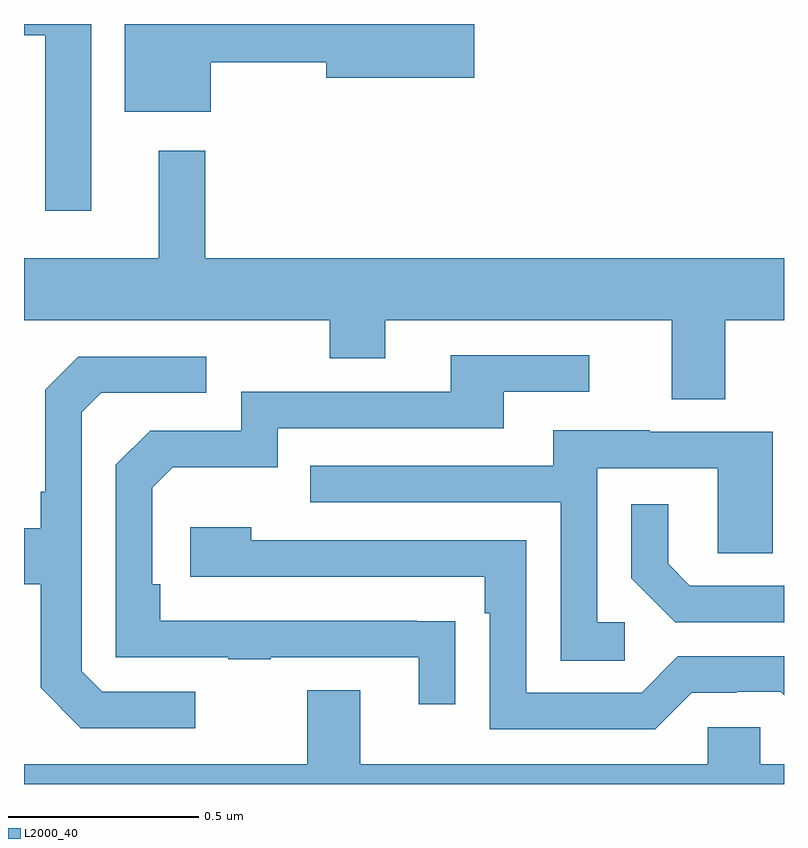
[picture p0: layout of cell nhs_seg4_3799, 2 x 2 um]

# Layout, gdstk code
import gdstk
lib = gdstk.Library(unit=1e-6, precision=1e-09)
def P(c, l, *ps):  # polygons
    for p in ps: c.add(gdstk.Polygon(p, *l))
L2000_40 = (2000, 40)

nhs_seg4_3799 = lib.new_cell('nhs_seg4_3799')
P(nhs_seg4_3799, L2000_40, [(157.177,830.9),(157,830.9),(157,830.87),(157.056,830.87),(157.056,830.409),(157.177,830.409)],
  [(157.492,830.8),(157.796,830.8),(157.796,830.758),(158.185,830.758),(158.185,830.9),(157.265,830.9),(157.265,830.669),(157.492,830.669)],
  [(158.845,830.12),(159,830.12),(159,830.284),(157.477,830.284),(157.477,830.566),(157.355,830.566),(157.355,830.284),(157,830.284),(157,830.12),(157.804,830.12),(157.804,830.021),(157.951,830.021),(157.951,830.12),(158.705,830.12),(158.705,829.912),(158.845,829.912)],
  [(158.135,829.328),(158.033,829.328),(158.033,829.329),(157.358,829.329),(157.358,829.426),(157.338,829.426),(157.338,829.68),(157.391,829.733),(157.668,829.733),(157.668,829.836),(158.263,829.836),(158.263,829.932),(158.488,829.932),(158.488,830.028),(158.123,830.028),(158.123,829.932),(157.572,829.932),(157.572,829.83),(157.332,829.83),(157.242,829.74),(157.242,829.233),(157.537,829.233),(157.537,829.228),(157.649,829.228),(157.649,829.233),(158.039,829.233),(158.039,829.11),(158.135,829.11)],
  [(157.45,829.143),(157.206,829.143),(157.152,829.197),(157.152,829.878),(157.203,829.929),(157.48,829.929),(157.48,830.025),(157.143,830.025),(157.056,829.938),(157.056,829.669),(157.044,829.669),(157.044,829.573),(157,829.573),(157,829.426),(157.044,829.426),(157.044,829.153),(157.149,829.047),(157.45,829.047)],
  [(158.581,829.326),(158.508,829.326),(158.508,829.731),(158.826,829.731),(158.826,829.507),(158.971,829.507),(158.971,829.827),(158.647,829.827),(158.647,829.831),(158.393,829.831),(158.393,829.737),(157.753,829.737),(157.753,829.641),(158.412,829.641),(158.412,829.225),(158.581,829.225)],
  [(159,829.422),(158.752,829.422),(158.695,829.479),(158.695,829.636),(158.598,829.636),(158.598,829.442),(158.714,829.326),(159,829.326)],
  [(158.757,829.14),(158.876,829.14),(158.876,829.143),(158.991,829.143),(159,829.134),(159,829.236),(158.721,829.236),(158.625,829.14),(158.322,829.14),(158.322,829.542),(157.598,829.542),(157.598,829.576),(157.437,829.576),(157.437,829.446),(158.213,829.446),(158.213,829.349),(158.226,829.349),(158.226,829.044),(158.661,829.044)],
  [(159,828.952),(158.937,828.952),(158.937,829.05),(158.799,829.05),(158.799,828.952),(157.885,828.952),(157.885,829.147),(157.745,829.147),(157.745,828.952),(157,828.952),(157,828.9),(159,828.9)])

lib.write_gds('nhs_seg4_3799.gds')
